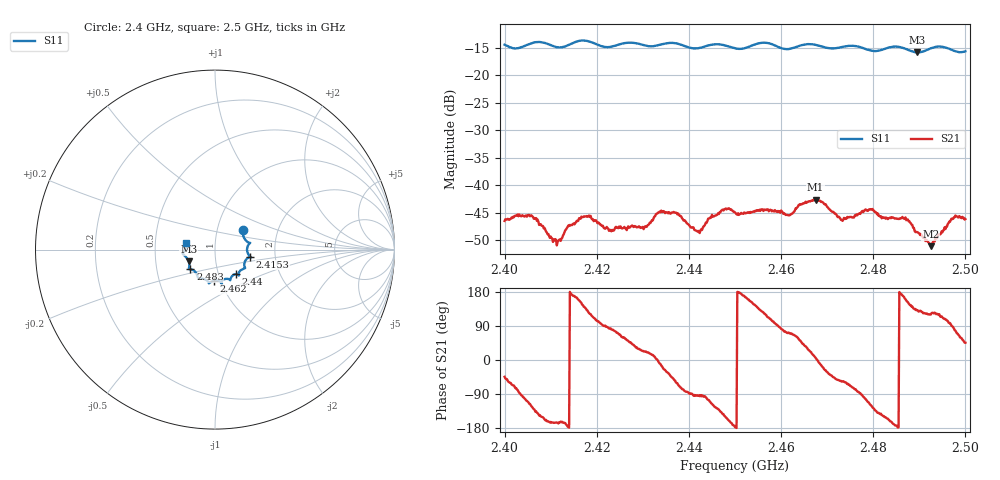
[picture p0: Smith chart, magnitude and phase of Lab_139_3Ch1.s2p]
# Hz S RI R 50
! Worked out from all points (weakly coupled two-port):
!   601 points, 2.4 GHz to 2.5 GHz, reference 50 ohm
!   highest |S21| = -42.61 dB at 2.4675 GHz (marker M1); lowest = -51.1 dB at 2.4925 GHz (marker M2)
!   lowest |S11| = -15.9 dB at 2.4895 GHz (marker M3), VSWR 1.38, Z = 36.9 - j5 ohm
!   |S11| at or under -10 dB: start of sweep to end of sweep
!   S12 and S22 are empty: the file has one direction only
!   S11 on the Smith chart (normalised r, x): 2.4 GHz: 1.33, +0.29; 2.4153 GHz: 1.48, -0.12; 2.44 GHz: 1.21, -0.34; 2.462 GHz: 0.93, -0.33; 2.483 GHz: 0.74, -0.17; 2.5 GHz: 0.72, +0.06
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2.4e9  0.1557 0.1068  0.00339 -0.00331  0 0  0 0
2.405667e9  0.1899 0.0383  -0.00259 -0.0046  0 0  0 0
2.411e9  0.1803 0.0135  -0.00313 -0.000823  0 0  0 0
2.415333e9  0.196 -0.0387  -0.0044 0.00108  0 0  0 0
2.416667e9  0.2016 -0.0426  -0.00451 0.00256  0 0  0 0
2.423167e9  0.1633 -0.078  0.000616 0.00376  0 0  0 0
2.430333e9  0.1496 -0.1112  0.0038 0.0016  0 0  0 0
2.433333e9  0.1311 -0.1332  0.00564 -0.000334  0 0  0 0
2.44e9  0.1142 -0.1369  0.000161 -0.00435  0 0  0 0
2.442333e9  0.0936 -0.1496  -0.000355 -0.00366  0 0  0 0
2.45e9  0.0646 -0.1629  -0.00565 -0.000296  0 0  0 0
2.462e9  -0.00512 -0.1733  0.0019 0.00504  0 0  0 0
2.466667e9  -0.0345 -0.1876  0.00694 0.00213  0 0  0 0
2.4675e9  -0.0352 -0.1848  0.00737 0.000698  0 0  0 0
2.473333e9  -0.0828 -0.1602  0.0026 -0.00396  0 0  0 0
2.4795e9  -0.1061 -0.1288  -0.00297 -0.00528  0 0  0 0
2.483e9  -0.1375 -0.1098  -0.00452 -0.00217  0 0  0 0
2.483333e9  -0.1401 -0.1095  -0.00461 -0.00193  0 0  0 0
2.4895e9  -0.1464 -0.0659  -0.00251 0.00279  0 0  0 0
2.4925e9  -0.1724 -0.0308  -0.0014 0.00242  0 0  0 0
2.497333e9  -0.1674 -0.00319  0.000293 0.00494  0 0  0 0
2.5e9  -0.1598 0.0389  0.00345 0.00351  0 0  0 0
